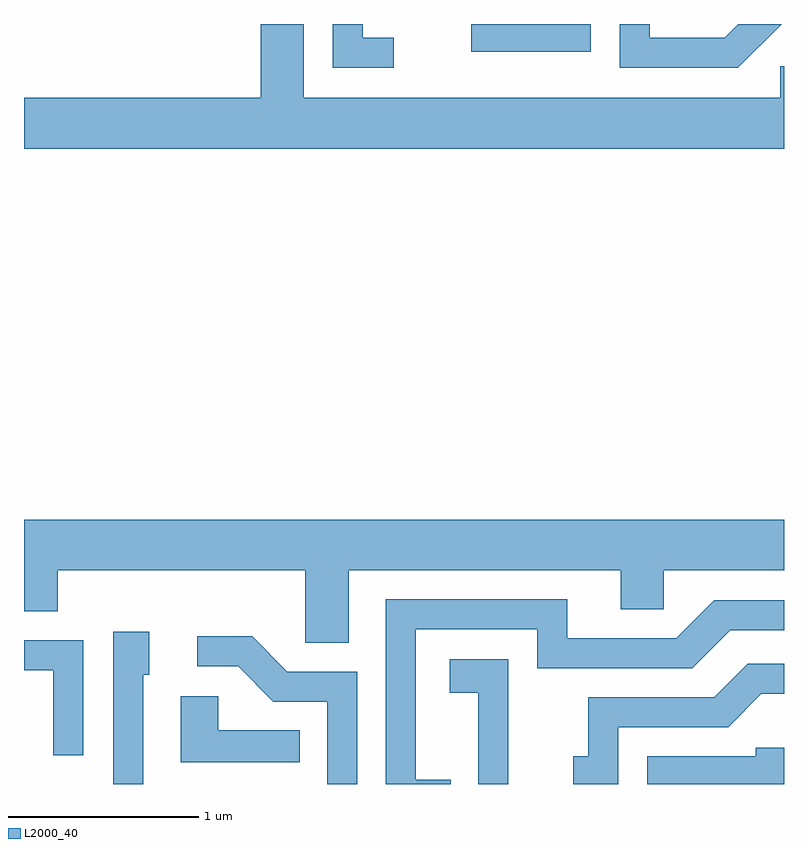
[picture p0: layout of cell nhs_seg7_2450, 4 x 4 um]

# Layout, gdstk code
import gdstk
lib = gdstk.Library(unit=1e-6, precision=1e-09)
def R(c, l, rs):  # rectangles x0, y0, x1, y1
    for r in rs: c.add(gdstk.rectangle(r[:2], r[2:], *l))
def P(c, l, *ps):  # polygons
    for p in ps: c.add(gdstk.Polygon(p, *l))
L2000_40 = (2000, 40)

nhs_seg7_2450 = lib.new_cell('nhs_seg7_2450')
R(nhs_seg7_2450, L2000_40, [(261.966,1768.106,262.594,1768.252)])
P(nhs_seg7_2450, L2000_40, [(260.856,1768.252),(260.856,1767.864),(259.611,1767.864),(259.611,1767.596),(263.611,1767.596),(263.611,1768.029),(263.591,1768.029),(263.591,1767.864),(261.084,1767.864),(261.084,1768.252)],
  [(261.558,1768.179),(261.394,1768.179),(261.394,1768.252),(261.236,1768.252),(261.236,1768.021),(261.558,1768.021)],
  [(263.598,1768.252),(263.371,1768.252),(263.299,1768.179),(262.904,1768.179),(262.904,1768.252),(262.746,1768.252),(262.746,1768.021),(263.367,1768.021)],
  [(261.319,1765.376),(262.751,1765.376),(262.751,1765.171),(262.979,1765.171),(262.979,1765.376),(263.611,1765.376),(263.611,1765.644),(259.611,1765.644),(259.611,1765.161),(259.789,1765.161),(259.789,1765.376),(261.091,1765.376),(261.091,1764.996),(261.319,1764.996)],
  [(261.858,1764.274),(261.674,1764.274),(261.674,1765.066),(262.311,1765.066),(262.311,1764.861),(263.127,1764.861),(263.327,1765.061),(263.611,1765.061),(263.611,1765.219),(263.244,1765.219),(263.044,1765.019),(262.469,1765.019),(262.469,1765.224),(261.516,1765.224),(261.516,1764.252),(261.858,1764.252)],
  [(260.239,1764.826),(260.269,1764.826),(260.269,1765.054),(260.081,1765.054),(260.081,1764.252),(260.239,1764.252)],
  [(261.364,1764.844),(260.997,1764.844),(260.812,1765.029),(260.522,1765.029),(260.522,1764.871),(260.739,1764.871),(260.924,1764.686),(261.206,1764.686),(261.206,1764.252),(261.364,1764.252)],
  [(259.924,1765.009),(259.611,1765.009),(259.611,1764.851),(259.766,1764.851),(259.766,1764.403),(259.924,1764.403)],
  [(262.159,1764.909),(261.851,1764.909),(261.851,1764.731),(262.001,1764.731),(262.001,1764.252),(262.159,1764.252)],
  [(262.739,1764.551),(263.317,1764.551),(263.492,1764.726),(263.611,1764.726),(263.611,1764.884),(263.419,1764.884),(263.244,1764.709),(262.581,1764.709),(262.581,1764.399),(262.503,1764.399),(262.503,1764.252),(262.739,1764.252)],
  [(261.063,1764.534),(260.634,1764.534),(260.634,1764.714),(260.436,1764.714),(260.436,1764.366),(261.063,1764.366)],
  [(263.611,1764.444),(263.461,1764.444),(263.461,1764.399),(262.891,1764.399),(262.891,1764.252),(263.611,1764.252)])

lib.write_gds('nhs_seg7_2450.gds')
